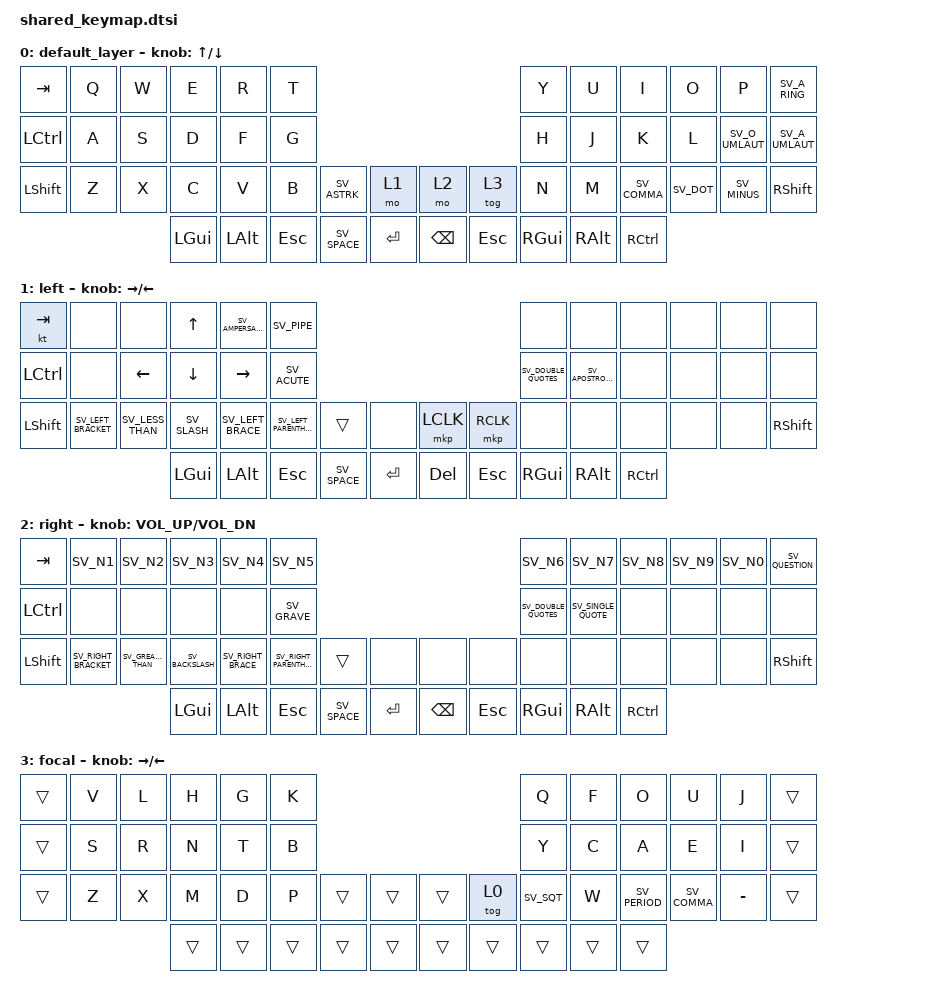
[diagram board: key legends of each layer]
/ {
    keymap {
        compatible = "zmk,keymap";

        default_layer {
            // ---------------------------------------------------------------------------------------------------------------------------------
            // |  ESC  |  Q  |  W  |  E   |  R   |  T   |                                          |  Y   |  U    |  I    |  O   |   P   |   \  |
            // |  TAB  |  A  |  S  |  D   |  F   |  G   |                                          |  H   |  J    |  K    |  L   |   ;   |   '  |
            // | SHIFT |  Z  |  X  |  C   |  V   |  B   | L SHIFT | L SHIFT |  | LAYER 1 | L SHIFT |  N   |  M    |  ,    |  .   |   /   | CTRL |
            //                     | GUI  | DEL  | RET  |  SPACE  |   ESC   |  |   RET   |  SPACE  | TAB  | BSPC  | R-ALT |

            bindings = <
&kp TAB     &kp Q  &kp W  &kp E     &kp R         &kp T                                                     &kp Y          &kp U     &kp I         &kp O       &kp P            &kp SV_A_RING
&kp LCTRL   &kp A  &kp S  &kp D     &kp F         &kp G                                                     &kp H          &kp J     &kp K         &kp L       &kp SV_O_UMLAUT  &kp SV_A_UMLAUT
&kp LSHIFT  &kp Z  &kp X  &kp C     &kp V         &kp B    &kp SV_ASTRK  &mo 1      &mo 2          &tog 3   &kp N          &kp M     &kp SV_COMMA  &kp SV_DOT  &kp SV_MINUS     &kp RIGHT_SHIFT
                          &kp LGUI  &kp LEFT_ALT  &kp ESC  &kp SV_SPACE  &kp ENTER  &kp BACKSPACE  &kp ESC  &kp RIGHT_GUI  &kp RALT  &kp RCTRL
            >;

            sensor-bindings = <&inc_dec_kp UP DOWN_ARROW>;
        };

        left {
            // ---------------------------------------------------------------------------------------------------------------------------------
            // |       |      |BT_CLR|BTSEL0|BTSEL1|BTSEL2|                                         |      |      |      |      |      |      |
            // |       |      |      |BTSEL3|BTSEL4|      |                                         |      |      |      |      |      |      |
            // |       |      |      |      |      |      |      |      |      |      |      |      |      |      |      |      |      |      |
            //                       |      |      |      |      |      |      |      |      |      |      |      |      |

            bindings = <
&kt TAB         &none                &none             &kp UP          &kp SV_AMPERSAND   &kp SV_PIPE                                                             &none                 &none              &none      &none  &none  &none
&kp LCTRL       &none                &kp LEFT_ARROW    &kp DOWN_ARROW  &kp RIGHT          &kp SV_ACUTE                                                            &kp SV_DOUBLE_QUOTES  &kp SV_APOSTROPHE  &none      &none  &none  &none
&kp LEFT_SHIFT  &kp SV_LEFT_BRACKET  &kp SV_LESS_THAN  &kp SV_SLASH    &kp SV_LEFT_BRACE  &kp SV_LEFT_PARENTHESIS  &trans        &none      &mkp LCLK  &mkp RCLK  &none                 &none              &none      &none  &none  &kp RSHFT
                                                       &kp LEFT_GUI    &kp LEFT_ALT       &kp ESC                  &kp SV_SPACE  &kp ENTER  &kp DEL    &kp ESC    &kp RIGHT_GUI         &kp RALT           &kp RCTRL
            >;

            sensor-bindings = <&inc_dec_kp RIGHT LEFT_ARROW>;
        };

        right {
            bindings = <
&kp TAB         &kp SV_N1             &kp SV_N2            &kp SV_N3         &kp SV_N4           &kp SV_N5                                                                   &kp SV_N6             &kp SV_N7            &kp SV_N8  &kp SV_N9  &kp SV_N0  &kp SV_QUESTION
&kp LCTRL       &none                 &none                &none             &none               &kp SV_GRAVE                                                                &kp SV_DOUBLE_QUOTES  &kp SV_SINGLE_QUOTE  &none      &none      &none      &none
&kp LEFT_SHIFT  &kp SV_RIGHT_BRACKET  &kp SV_GREATER_THAN  &kp SV_BACKSLASH  &kp SV_RIGHT_BRACE  &kp SV_RIGHT_PARENTHESIS  &trans        &none       &none          &none    &none                 &none                &none      &none      &none      &kp RIGHT_SHIFT
                                                           &kp LGUI          &kp LEFT_ALT        &kp ESC                   &kp SV_SPACE  &kp RETURN  &kp BACKSPACE  &kp ESC  &kp RGUI              &kp RIGHT_ALT        &kp RCTRL
            >;

            sensor-bindings = <&inc_dec_kp C_VOL_UP C_VOL_DN>;
        };

        focal {
            bindings = <
&trans  &kp V  &kp L  &kp H   &kp G   &kp K                                   &kp Q       &kp F   &kp O          &kp U         &kp J      &trans
&trans  &kp S  &kp R  &kp N   &kp T   &kp B                                   &kp Y       &kp C   &kp A          &kp E         &kp I      &trans
&trans  &kp Z  &kp X  &kp M   &kp D   &kp P   &trans  &trans  &trans  &tog 0 &kp SV_SQT  &kp W   &kp SV_PERIOD  &kp SV_COMMA  &kp MINUS  &trans
                      &trans  &trans  &trans  &trans  &trans  &trans  &trans  &trans      &trans  &trans
            >;

            sensor-bindings = <&inc_dec_kp RIGHT LEFT>;
        };
    };
};
